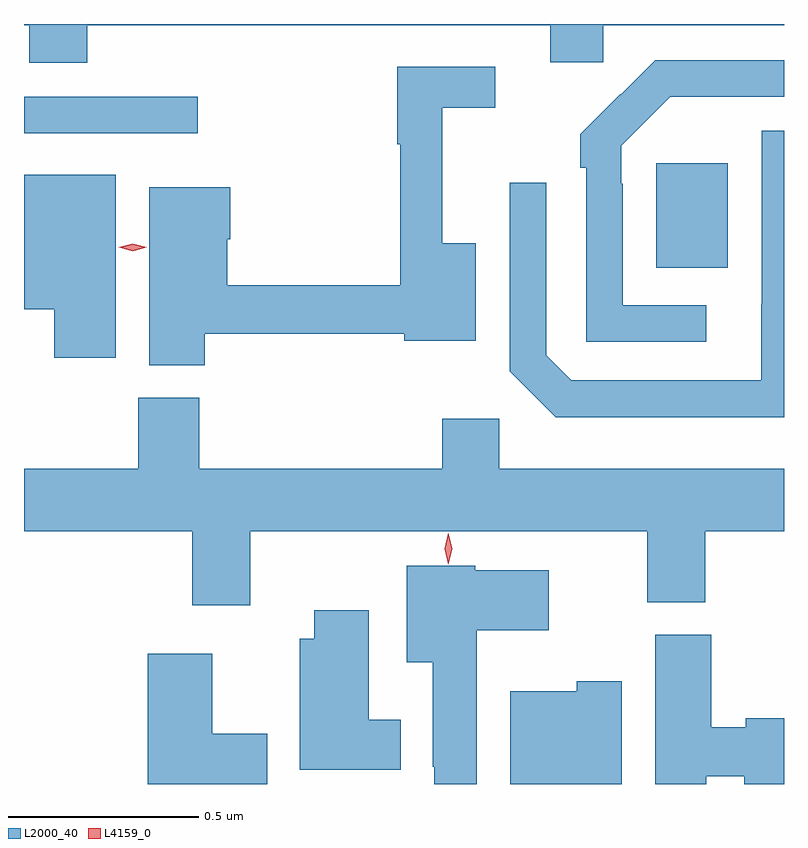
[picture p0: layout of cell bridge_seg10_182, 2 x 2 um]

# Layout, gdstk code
import gdstk
lib = gdstk.Library(unit=1e-6, precision=1e-09)
def R(c, l, rs):  # rectangles x0, y0, x1, y1
    for r in rs: c.add(gdstk.rectangle(r[:2], r[2:], *l))
def P(c, l, *ps):  # polygons
    for p in ps: c.add(gdstk.Polygon(p, *l))
L2000_40 = (2000, 40)
L4159_0 = (4159, 0)

bridge_seg10_182 = lib.new_cell('bridge_seg10_182')
R(bridge_seg10_182, L2000_40, [(178.895,1295.681,179.083,1295.956), (177.231,1296.036,177.688,1296.132)])
P(bridge_seg10_182, L2000_40, [(177.398,1296.32),(178.616,1296.32),(178.616,1296.222),(178.755,1296.222),(178.755,1296.32),(179.231,1296.32),(179.231,1296.323),(177.231,1296.323),(177.231,1296.32),(177.245,1296.32),(177.245,1296.221),(177.398,1296.221)],
  [(179.026,1295.583),(178.806,1295.583),(178.806,1295.903),(178.803,1295.903),(178.803,1296.003),(178.932,1296.132),(179.231,1296.132),(179.231,1296.228),(178.892,1296.228),(178.801,1296.137),(178.8,1296.138),(178.695,1296.033),(178.695,1295.945),(178.71,1295.945),(178.71,1295.487),(179.026,1295.487)],
  [(177.707,1295.508),(178.232,1295.508),(178.232,1295.489),(178.42,1295.489),(178.42,1295.746),(178.331,1295.746),(178.331,1296.102),(178.471,1296.102),(178.471,1296.21),(178.213,1296.21),(178.213,1296.007),(178.221,1296.007),(178.221,1295.636),(177.766,1295.636),(177.766,1295.756),(177.774,1295.756),(177.774,1295.893),(177.56,1295.893),(177.56,1295.425),(177.707,1295.425)],
  [(179.231,1296.042),(179.172,1296.042),(179.172,1295.585),(179.171,1295.585),(179.171,1295.385),(178.671,1295.385),(178.605,1295.451),(178.605,1295.905),(178.509,1295.905),(178.509,1295.409),(178.63,1295.288),(179.231,1295.288)],
  [(177.472,1295.926),(177.231,1295.926),(177.231,1295.573),(177.311,1295.573),(177.311,1295.445),(177.472,1295.445)],
  [(177.826,1294.988),(178.871,1294.988),(178.871,1294.801),(179.024,1294.801),(179.024,1294.988),(179.231,1294.988),(179.231,1295.152),(178.482,1295.152),(178.482,1295.284),(178.331,1295.284),(178.331,1295.152),(177.692,1295.152),(177.692,1295.34),(177.532,1295.34),(177.532,1295.152),(177.231,1295.152),(177.231,1294.988),(177.674,1294.988),(177.674,1294.794),(177.826,1294.794)],
  [(178.423,1294.727),(178.612,1294.727),(178.612,1294.885),(178.419,1294.885),(178.419,1294.897),(178.238,1294.897),(178.238,1294.643),(178.307,1294.643),(178.307,1294.369),(178.311,1294.369),(178.311,1294.323),(178.423,1294.323)],
  [(178.222,1294.492),(178.138,1294.492),(178.138,1294.78),(177.995,1294.78),(177.995,1294.705),(177.956,1294.705),(177.956,1294.361),(178.222,1294.361)],
  [(179.026,1294.343),(179.126,1294.343),(179.126,1294.323),(179.231,1294.323),(179.231,1294.496),(179.13,1294.496),(179.13,1294.473),(179.039,1294.473),(179.039,1294.716),(178.892,1294.716),(178.892,1294.323),(179.026,1294.323)],
  [(177.871,1294.455),(177.727,1294.455),(177.727,1294.666),(177.557,1294.666),(177.557,1294.323),(177.871,1294.323)],
  [(178.804,1294.594),(178.686,1294.594),(178.686,1294.567),(178.511,1294.567),(178.511,1294.323),(178.804,1294.323)])
P(bridge_seg10_182, L4159_0, [(178.348,1294.901),(178.348,1294.901),(178.338,1294.942),(178.348,1294.983),(178.348,1294.983),(178.348,1294.983),(178.358,1294.942),(178.348,1294.901)],
  [(177.517,1295.725),(177.48,1295.735),(177.479,1295.735),(177.48,1295.736),(177.517,1295.745),(177.554,1295.735),(177.554,1295.735),(177.554,1295.735)])

lib.write_gds('bridge_seg10_182.gds')
